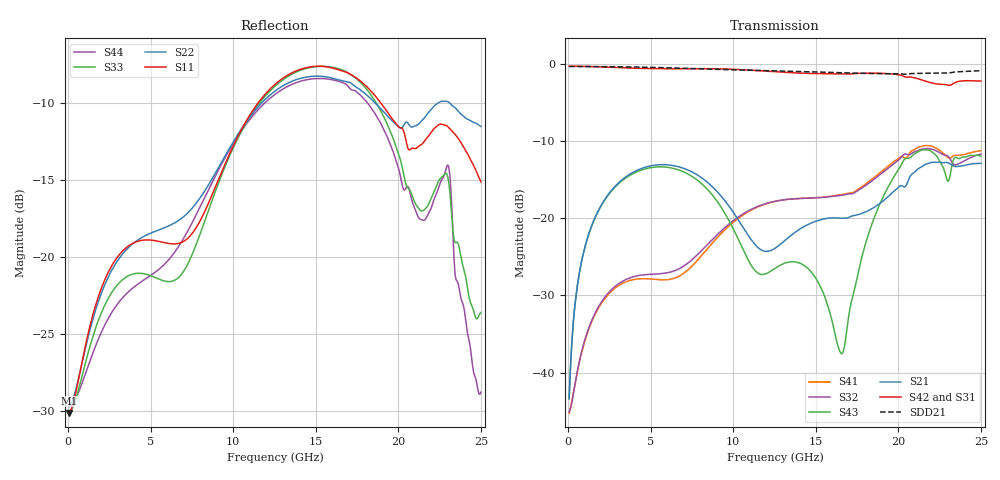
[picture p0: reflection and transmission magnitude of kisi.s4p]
! BV_ts_m2_per0_q050f25s: /TS-USB4 Components/M2_PER0_P via F.Cu→In3.Cu at (161.287, 130.742) with its partner
! stackup: Thunderscope_Rev5.3 from the board file and its kisi.json
! ports: 1 P in, 2 N in, 3 P out, 4 N out
! kisi-fdtd, conformal, dfine 0.05 mm, 520478 cells
# Hz S RI R 50
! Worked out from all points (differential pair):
!   400 points, 62.5 MHz to 25 GHz, reference 50 ohm
!   strongest paths, dB at 62.5 MHz, 6.312 GHz, 12.56 GHz, 18.81 GHz, 25 GHz:
!     S42: -0.3, -0.6, -1.0, -1.2, -2.2
!     S31: -0.3, -0.6, -1.1, -1.2, -1.9
!     S21: -43.4, -13.2, -23.8, -18.2, -12.9
!     S43: -43.4, -13.5, -26.5, -18.5, -11.9
!     S32: -45.1, -26.9, -17.8, -14.5, -11.7
!     S41: -45.3, -27.8, -17.8, -14.2, -11.2
!   taken as a pair (ports 2,1 in; 4,3 out), SDD21 dB: -0.3, -0.5, -0.9, -1.3, -0.9
!   lowest |S11| = -30.2 dB at 62.5 MHz (marker M1), VSWR 1.06, Z = 47 + j0.283 ohm
!   |S11| at or under -10 dB: start of sweep to 11.52 GHz; 18.93 GHz to end of sweep
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6.25e7  -0.0309 0.003  0.0055 0.00394  0.9688 -0.0191  0.00541 -0.00117
        0.00555 0.00387  -0.0325 0.00289  0.00536 -0.00111  0.9673 -0.0196
        0.9688 -0.019  0.00542 -0.00118  -0.0309 0.00284  0.0055 0.00394
        0.00534 -0.00107  0.9673 -0.0197  0.00557 0.00386  -0.0325 0.00267
8.125e8  -0.0235 0.038  0.0189 0.0488  0.9356 -0.2441  0.000177 -0.0134
         0.0189 0.0488  -0.0263 0.0358  0.000314 -0.0136  0.9323 -0.2509
         0.9356 -0.2442  0.000381 -0.0135  -0.0197 0.0352  0.0187 0.0488
         8.36e-05 -0.0134  0.9324 -0.2509  0.0188 0.0489  -0.0211 0.0321
2.75e9  0.0318 0.09  0.1246 0.0955  0.6247 -0.7166  -0.0317 -0.0139
        0.1246 0.0955  0.0215 0.0898  -0.0317 -0.016  0.6049 -0.7322
        0.6248 -0.7166  -0.0317 -0.0159  0.0588 0.0513  0.122 0.096
        -0.0317 -0.0139  0.6049 -0.7321  0.1221 0.096  0.0556 0.0378
9.8125e9  0.0914 0.1974  0.0361 -0.1114  -0.92 -0.127  -0.0197 0.0883
          0.0361 -0.1114  0.1186 0.193  -0.024 0.0898  -0.9246 -0.0449
          -0.92 -0.127  -0.024 0.0899  -0.1352 0.1663  0.0317 -0.0881
          -0.0196 0.0883  -0.9246 -0.0449  0.0317 -0.0881  -0.1341 0.1793
1.60625e10  0.4087 -0.0152  0.00499 -0.1005  0.1359 0.8407  0.1275 -0.0574
            0.00501 -0.1004  0.379 -0.000219  0.1336 -0.0379  0.274 0.8181
            0.1359 0.8407  0.1336 -0.0379  0.3986 -0.1018  0.00254 -0.0198
            0.1275 -0.0574  0.2741 0.818  0.00239 -0.0198  0.3089 -0.2121
1.98125e10  0.2257 -0.1529  -0.1291 0.0802  0.8347 0.1963  0.0232 -0.2356
            -0.129 0.0802  0.2483 -0.1054  0.0729 -0.2178  0.8571 0.0152
            0.8349 0.196  0.0732 -0.2176  0.000459 -0.2315  0.038 0.1877
            0.0229 -0.2352  0.8567 0.0151  0.0384 0.188  -0.1206 -0.1705
2.5e10  0.0871 -0.1518  0.2182 0.0631  0.2123 -0.7768  -0.2585 0.0914
        0.2181 0.0632  0.1507 -0.2176  -0.2607 -0.00113  0.0263 -0.7747
        0.2125 -0.7771  -0.2604 -0.000932  -0.024 -0.0613  0.2367 -0.0911
        -0.2588 0.0908  0.0265 -0.7747  0.2359 -0.0907  -0.0359 0.00557
